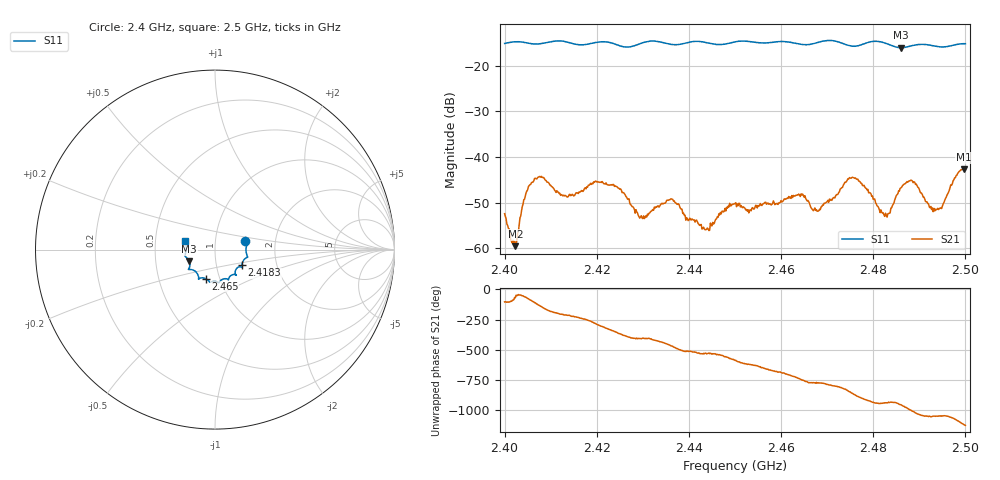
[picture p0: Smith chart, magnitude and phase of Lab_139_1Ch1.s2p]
# Hz S RI R 50
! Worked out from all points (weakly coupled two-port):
!   601 points, 2.4 GHz to 2.5 GHz, reference 50 ohm
!   highest |S21| = -42.70 dB at 2.4997 GHz (marker M1); lowest = -59.6 dB at 2.4023 GHz (marker M2)
!   lowest |S11| = -16.1 dB at 2.486 GHz (marker M3), VSWR 1.37, Z = 37.2 - j4.96 ohm
!   |S11| at or under -10 dB: start of sweep to end of sweep
!   S12 and S22 are empty: the file has one direction only
!   S11 on the Smith chart (normalised r, x): 2.4 GHz: 1.40, +0.13; 2.4183 GHz: 1.33, -0.24; 2.465 GHz: 0.86, -0.29; 2.5 GHz: 0.71, +0.07
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2.4e9  0.1692 0.0459  -0.000536 -0.00232  0 0  0 0
2.402333e9  0.1794 0.0355  0.000382 -0.00098  0 0  0 0
2.404667e9  0.1769 0.0226  0.00166 -0.0037  0 0  0 0
2.407e9  0.1725 -0.0033  -0.0029 -0.00496  0 0  0 0
2.412667e9  0.1804 -0.0431  -0.00335 0.00166  0 0  0 0
2.416667e9  0.1548 -0.0678  -0.00218 0.00368  0 0  0 0
2.418333e9  0.1499 -0.0872  -0.00089 0.00481  0 0  0 0
2.424667e9  0.1373 -0.0952  0.00454 -0.000293  0 0  0 0
2.4295e9  0.1129 -0.1336  0.00149 -0.00161  0 0  0 0
2.433333e9  0.1175 -0.141  0.00106 -0.0027  0 0  0 0
2.436333e9  0.0964 -0.1407  -0.00112 -0.00325  0 0  0 0
2.444e9  0.0686 -0.1642  -0.00165 -0.00024  0 0  0 0
2.45e9  0.0252 -0.1807  -0.0021 0.00227  0 0  0 0
2.465e9  -0.0525 -0.1617  0.00298 -0.00207  0 0  0 0
2.466667e9  -0.0713 -0.1571  0.00168 -0.00213  0 0  0 0
2.475333e9  -0.1037 -0.1268  -0.00443 -0.00395  0 0  0 0
2.483333e9  -0.1414 -0.0964  -0.002 0.00131  0 0  0 0
2.486e9  -0.1432 -0.065  -0.00266 0.00372  0 0  0 0
2.4885e9  -0.1602 -0.0434  0.00174 0.00514  0 0  0 0
2.493833e9  -0.1619 -0.0106  0.00227 0.00139  0 0  0 0
2.499667e9  -0.168 0.0454  0.00566 -0.00466  0 0  0 0
2.5e9  -0.1675 0.047  0.00497 -0.0052  0 0  0 0
